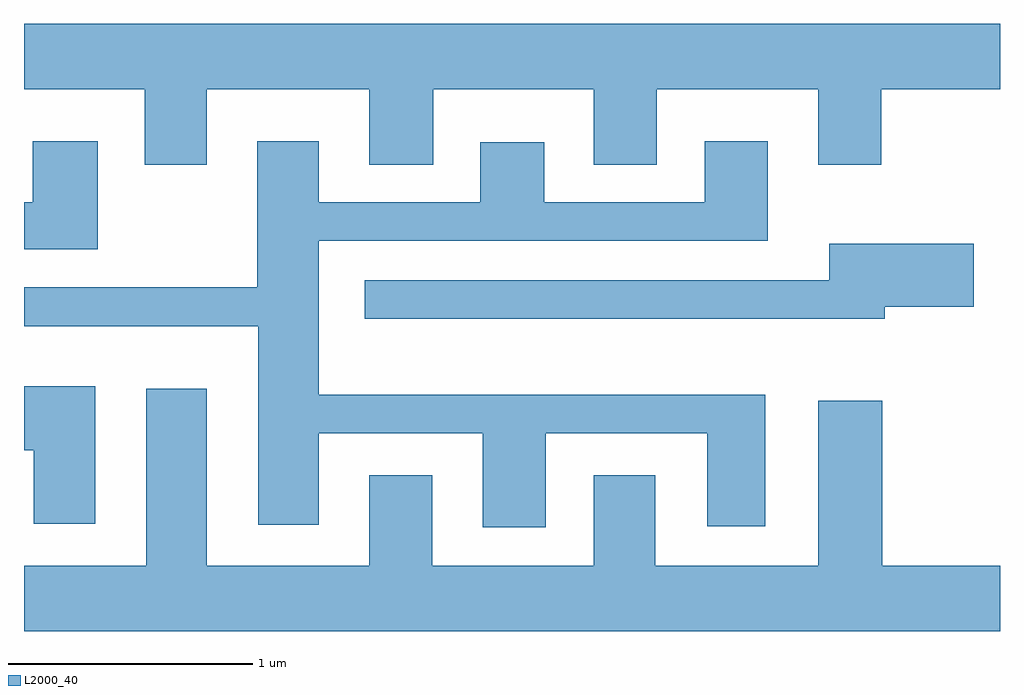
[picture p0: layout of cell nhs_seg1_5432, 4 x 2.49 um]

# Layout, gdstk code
import gdstk
lib = gdstk.Library(unit=1e-6, precision=1e-09)
def P(c, l, *ps):  # polygons
    for p in ps: c.add(gdstk.Polygon(p, *l))
L2000_40 = (2000, 40)

nhs_seg1_5432 = lib.new_cell('nhs_seg1_5432')
P(nhs_seg1_5432, L2000_40, [(350.359,850.736),(351.026,850.736),(351.026,850.426),(351.289,850.426),(351.289,850.736),(351.946,850.736),(351.946,850.426),(352.204,850.426),(352.204,850.736),(352.866,850.736),(352.866,850.426),(353.124,850.426),(353.124,850.736),(353.611,850.736),(353.611,851.004),(349.611,851.004),(349.611,850.736),(350.106,850.736),(350.106,850.426),(350.359,850.426)],
  [(349.914,850.524),(349.646,850.524),(349.646,850.274),(349.611,850.274),(349.611,850.081),(349.914,850.081)],
  [(351.749,849.326),(352.411,849.326),(352.411,848.946),(352.649,848.946),(352.649,849.484),(350.819,849.484),(350.819,850.116),(352.659,850.116),(352.659,850.524),(352.401,850.524),(352.401,850.274),(351.744,850.274),(351.744,850.519),(351.481,850.519),(351.481,850.274),(350.819,850.274),(350.819,850.524),(350.566,850.524),(350.566,849.924),(349.611,849.924),(349.611,849.766),(350.571,849.766),(350.571,848.951),(350.819,848.951),(350.819,849.326),(351.491,849.326),(351.491,848.941),(351.749,848.941)],
  [(353.139,849.846),(353.504,849.846),(353.504,850.104),(352.911,850.104),(352.911,849.954),(351.008,849.954),(351.008,849.796),(353.139,849.796)],
  [(349.904,849.519),(349.611,849.519),(349.611,849.256),(349.651,849.256),(349.651,848.956),(349.904,848.956)],
  [(353.611,848.784),(353.129,848.784),(353.129,849.459),(352.866,849.459),(352.866,848.784),(352.199,848.784),(352.199,849.154),(351.946,849.154),(351.946,848.784),(351.284,848.784),(351.284,849.154),(351.026,849.154),(351.026,848.784),(350.359,848.784),(350.359,849.509),(350.111,849.509),(350.111,848.784),(349.611,848.784),(349.611,848.516),(353.611,848.516)])

lib.write_gds('nhs_seg1_5432.gds')
